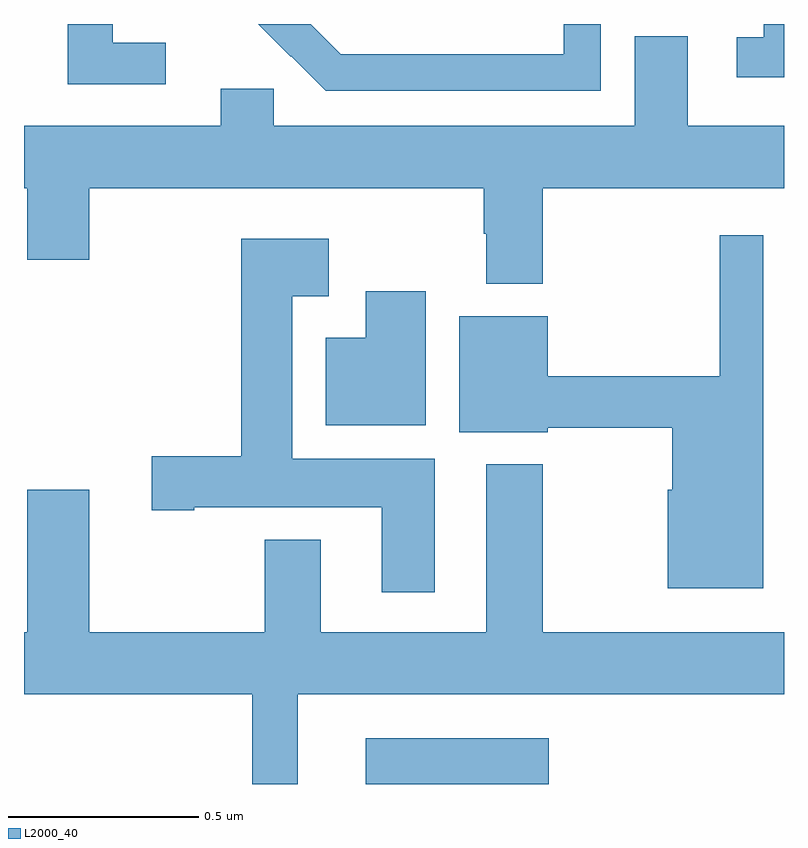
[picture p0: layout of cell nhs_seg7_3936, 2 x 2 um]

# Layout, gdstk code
import gdstk
lib = gdstk.Library(unit=1e-6, precision=1e-09)
def R(c, l, rs):  # rectangles x0, y0, x1, y1
    for r in rs: c.add(gdstk.rectangle(r[:2], r[2:], *l))
def P(c, l, *ps):  # polygons
    for p in ps: c.add(gdstk.Polygon(p, *l))
L2000_40 = (2000, 40)

nhs_seg7_3936 = lib.new_cell('nhs_seg7_3936')
R(nhs_seg7_3936, L2000_40, [(165.899,1047,166.381,1047.121)])
P(nhs_seg7_3936, L2000_40, [(166.518,1049),(166.421,1049),(166.421,1048.92),(165.937,1048.92),(165.937,1048.921),(165.834,1048.921),(165.754,1049),(165.616,1049),(165.702,1048.914),(165.703,1048.915),(165.794,1048.824),(166.518,1048.824)],
  [(165.373,1048.951),(165.233,1048.951),(165.233,1049),(165.115,1049),(165.115,1048.842),(165.373,1048.842)],
  [(167,1049),(166.947,1049),(166.947,1048.965),(166.875,1048.965),(166.875,1048.86),(167,1048.86)],
  [(166.365,1048.568),(167,1048.568),(167,1048.732),(166.747,1048.732),(166.747,1048.968),(166.607,1048.968),(166.607,1048.732),(165.657,1048.732),(165.657,1048.83),(165.518,1048.83),(165.518,1048.732),(165,1048.732),(165,1048.568),(165.008,1048.568),(165.008,1048.38),(165.172,1048.38),(165.172,1048.568),(166.21,1048.568),(166.21,1048.448),(166.217,1048.448),(166.217,1048.316),(166.365,1048.316)],
  [(166.945,1048.444),(166.831,1048.444),(166.831,1048.073),(166.378,1048.073),(166.378,1048.231),(166.145,1048.231),(166.145,1047.926),(166.378,1047.926),(166.378,1047.937),(166.706,1047.937),(166.706,1047.774),(166.694,1047.774),(166.694,1047.515),(166.945,1047.515)],
  [(166.081,1047.856),(165.706,1047.856),(165.706,1048.283),(165.802,1048.283),(165.802,1048.435),(165.572,1048.435),(165.572,1047.863),(165.336,1047.863),(165.336,1047.721),(165.448,1047.721),(165.448,1047.728),(165.941,1047.728),(165.941,1047.504),(166.081,1047.504)],
  [(166.057,1048.297),(165.899,1048.297),(165.899,1048.174),(165.794,1048.174),(165.794,1047.944),(166.057,1047.944)],
  [(165.721,1047.236),(167,1047.236),(167,1047.4),(166.365,1047.4),(166.365,1047.841),(166.217,1047.841),(166.217,1047.4),(165.781,1047.4),(165.781,1047.643),(165.634,1047.643),(165.634,1047.4),(165.172,1047.4),(165.172,1047.775),(165.008,1047.775),(165.008,1047.4),(165,1047.4),(165,1047.236),(165.6,1047.236),(165.6,1047),(165.721,1047)])

lib.write_gds('nhs_seg7_3936.gds')
